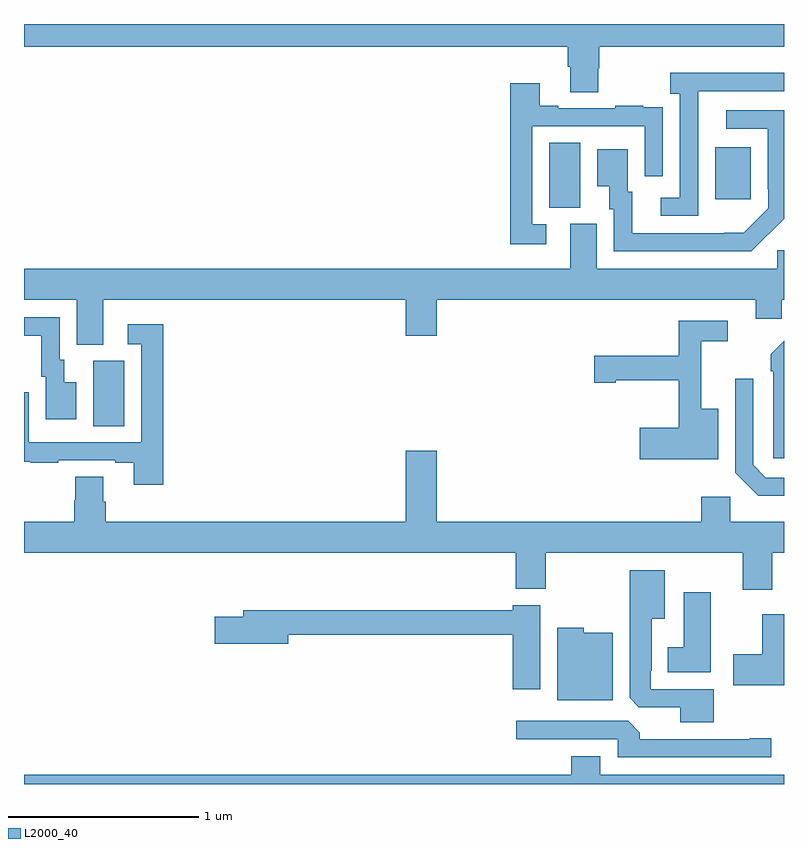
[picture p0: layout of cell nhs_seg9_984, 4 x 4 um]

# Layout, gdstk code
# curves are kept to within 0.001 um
import gdstk
lib = gdstk.Library(unit=1e-6, precision=1e-09)
def R(c, l, rs):  # rectangles x0, y0, x1, y1
    for r in rs: c.add(gdstk.rectangle(r[:2], r[2:], *l))
def P(c, l, *ps):  # polygons
    for p in ps: c.add(gdstk.Polygon(p, *l))
L2000_40 = (2000, 40)

nhs_seg9_984 = lib.new_cell('nhs_seg9_984')
R(nhs_seg9_984, L2000_40, [(163.364,1234.384,163.528,1234.728), (165.764,1235.533,165.928,1235.876), (166.637,1235.577,166.825,1235.851)])
P(nhs_seg9_984, L2000_40, [(166.023,1236.267),(166.028,1236.267),(166.028,1236.38),(167,1236.38),(167,1236.5),(163,1236.5),(163,1236.38),(165.863,1236.38),(165.863,1236.274),(165.875,1236.274),(165.875,1236.142),(166.023,1236.142)],
  [(166.548,1235.947),(166.549,1235.947),(166.549,1236.147),(167,1236.147),(167,1236.244),(166.401,1236.244),(166.401,1236.134),(166.452,1236.134),(166.452,1235.586),(166.35,1235.586),(166.35,1235.49),(166.548,1235.49)],
  [(165.748,1235.445),(165.675,1235.445),(165.675,1235.961),(166.266,1235.961),(166.266,1235.7),(166.362,1235.7),(166.362,1235.954),(166.361,1235.954),(166.361,1236.063),(166.259,1236.063),(166.259,1236.07),(166.111,1236.07),(166.111,1236.057),(165.811,1236.057),(165.811,1236.07),(165.715,1236.07),(165.715,1236.187),(165.559,1236.187),(165.559,1235.34),(165.748,1235.34)],
  [(166.919,1235.395),(166.92,1235.394),(167,1235.474),(167,1236.045),(166.695,1236.045),(166.695,1235.949),(166.914,1235.949),(166.914,1235.629),(166.917,1235.629),(166.917,1235.529),(166.789,1235.401),(166.201,1235.4),(166.201,1235.616),(166.177,1235.616),(166.177,1235.842),(166.016,1235.842),(166.016,1235.645),(166.079,1235.645),(166.079,1235.526),(166.104,1235.526),(166.104,1235.304),(166.828,1235.304)],
  [(163.417,1235.048),(165.008,1235.048),(165.008,1234.86),(165.172,1234.86),(165.172,1235.048),(166.85,1235.048),(166.85,1234.95),(166.989,1234.95),(166.989,1235.048),(167,1235.048),(167,1235.31),(166.965,1235.31),(166.965,1235.212),(166.015,1235.212),(166.015,1235.448),(165.875,1235.448),(165.875,1235.212),(163,1235.212),(163,1235.048),(163.277,1235.048),(163.277,1234.813),(163.417,1234.813)],
  [(163.276,1234.615),(163.213,1234.615),(163.213,1234.734),(163.188,1234.734),(163.188,1234.956),(163,1234.956),(163,1234.86),(163.091,1234.86),(163.091,1234.644),(163.115,1234.644),(163.115,1234.419),(163.276,1234.419)],
  [(166.654,1234.474),(166.565,1234.474),(166.565,1234.83),(166.705,1234.83),(166.705,1234.938),(166.447,1234.938),(166.447,1234.755),(166.002,1234.755),(166.002,1234.613),(166.114,1234.613),(166.114,1234.625),(166.447,1234.625),(166.447,1234.375),(166.242,1234.375),(166.242,1234.21),(166.654,1234.21)],
  [(163.733,1234.921),(163.545,1234.921),(163.545,1234.815),(163.617,1234.815),(163.617,1234.299),(163.026,1234.299),(163.026,1234.561),(163,1234.561),(163,1234.197),(163.033,1234.197),(163.033,1234.191),(163.181,1234.191),(163.181,1234.203),(163.481,1234.203),(163.481,1234.191),(163.577,1234.191),(163.577,1234.074),(163.733,1234.074)],
  [(167,1234.832),(166.929,1234.761),(166.929,1234.673),(166.944,1234.673),(166.944,1234.215),(167,1234.215)],
  [(167,1234.113),(166.905,1234.113),(166.839,1234.179),(166.839,1234.633),(166.743,1234.633),(166.743,1234.137),(166.864,1234.016),(167,1234.016)],
  [(166.937,1233.716),(167,1233.716),(167,1233.88),(166.716,1233.88),(166.716,1234.012),(166.565,1234.012),(166.565,1233.88),(165.172,1233.88),(165.172,1234.255),(165.008,1234.255),(165.008,1233.88),(163.43,1233.88),(163.43,1233.986),(163.417,1233.986),(163.417,1234.118),(163.27,1234.118),(163.27,1233.993),(163.265,1233.993),(163.265,1233.88),(163,1233.88),(163,1233.716),(165.587,1233.716),(165.587,1233.527),(165.747,1233.527),(165.747,1233.716),(166.784,1233.716),(166.784,1233.522),(166.937,1233.522)],
  [(166.63,1233),(166.299,1233),(166.299,1233.097),(166.303,1233.097),(166.303,1233.371),(166.372,1233.371),(166.372,1233.625),(166.187,1233.625),(166.187,1232.953),(166.236,1232.904),(166.454,1232.904),(166.454,1232.825),(166.63,1232.825)],
  [(166.615,1233.508),(166.472,1233.508),(166.472,1233.22),(166.388,1233.22),(166.388,1233.089),(166.615,1233.089)],
  [(165.718,1233.442),(165.572,1233.442),(165.572,1233.415),(164.153,1233.415),(164.153,1233.381),(164.004,1233.381),(164.004,1233.239),(164.392,1233.239),(164.392,1233.286),(165.572,1233.286),(165.572,1233),(165.718,1233)],
  [(167,1233.394),(166.886,1233.394),(166.886,1233.183),(166.734,1233.183),(166.734,1233.02),(167,1233.02)],
  [(166.099,1233.295),(165.945,1233.295),(165.945,1233.322),(165.806,1233.322),(165.806,1232.942),(166.099,1232.942)],
  [(166.933,1232.741),(166.82,1232.741),(166.82,1232.736),(166.241,1232.736),(166.241,1232.77),(166.179,1232.832),(165.591,1232.832),(165.591,1232.736),(166.125,1232.736),(166.125,1232.64),(166.933,1232.64)],
  [(167,1232.548),(166.033,1232.548),(166.033,1232.647),(165.881,1232.647),(165.881,1232.548),(163,1232.548),(163,1232.5),(167,1232.5)])

lib.write_gds('nhs_seg9_984.gds')
